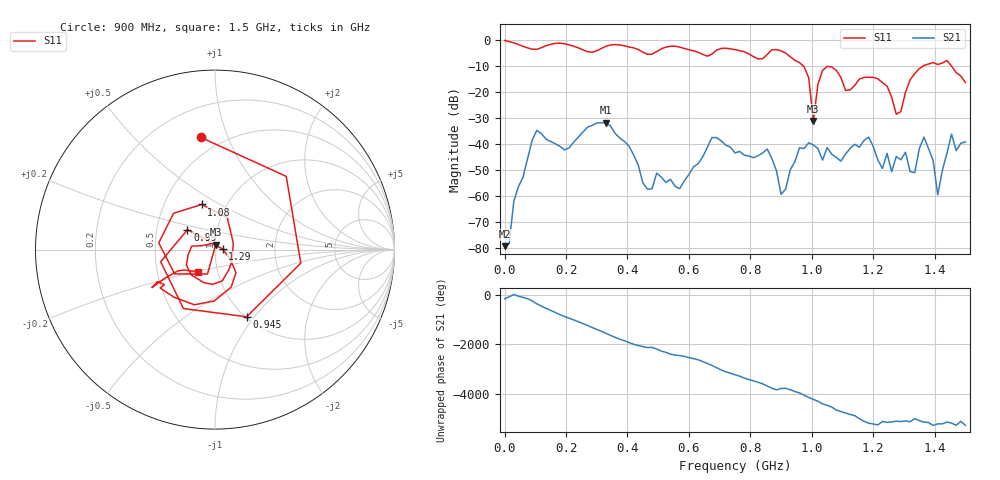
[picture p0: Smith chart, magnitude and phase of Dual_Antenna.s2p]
# HZ S RI R 50
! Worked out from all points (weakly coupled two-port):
!   101 points, 30 kHz to 1.5 GHz, reference 50 ohm
!   highest |S21| = -31.73 dB at 330 MHz (marker M1); lowest = -79.4 dB at 30 kHz (marker M2)
!   lowest |S11| = -31.1 dB at 1.005 GHz (marker M3), VSWR 1.06, Z = 50.3 + j2.78 ohm
!   |S11| at or under -10 dB: 973.3 MHz to 1.361 GHz (387.6 MHz wide, 33.2 % of centre); 1.455 GHz to end of sweep
!   S12 and S22 are empty: the file has one direction only
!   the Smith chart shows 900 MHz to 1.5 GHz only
!   S11 on the Smith chart (normalised r, x): 900 MHz: 0.39, +0.80; 945 MHz: 1.01, -0.91; 990 MHz: 0.72, +0.17; 1.08 GHz: 0.77, +0.41; 1.29 GHz: 1.09, +0.01; 1.5 GHz: 0.81, -0.20
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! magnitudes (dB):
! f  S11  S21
! 30 kHz  0.0  -79.4
! 105 MHz  -3.5  -34.7
! 255 MHz  -3.6  -35.3
! 330 MHz  -2.3  -31.7
! 465 MHz  -5.4  -57.4
! 510 MHz  -3.3  -52.7
! 750 MHz  -3.6  -43.4
! 855 MHz  -5.4  -41.9
! 900 MHz  -4.0  -59.4
! 945 MHz  -7.7  -46.8
! 990 MHz  -14.5  -39.5
! 1.005 GHz  -31.1  -40.4
! 1.035 GHz  -11.6  -46.2
! 1.08 GHz  -11.6  -45.2
! 1.185 GHz  -14.2  -37.3
! 1.26 GHz  -21.9  -50.6
! 1.29 GHz  -27.4  -46.0
! 1.335 GHz  -12.9  -51.0
! 1.365 GHz  -9.7  -37.3
! 1.41 GHz  -9.3  -59.6
! 1.455 GHz  -9.9  -36.1
! 1.5 GHz  -16.2  -39.2
